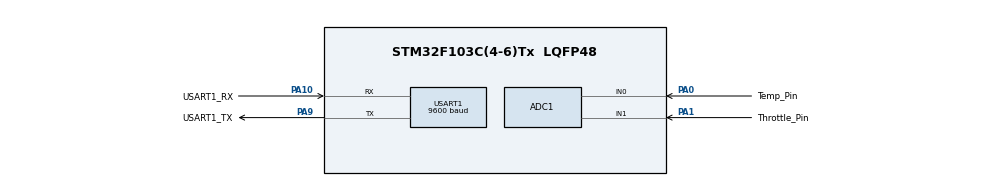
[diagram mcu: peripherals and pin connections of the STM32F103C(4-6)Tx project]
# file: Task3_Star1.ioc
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ADC1.Channel-0\#ChannelRegularConversion=ADC_CHANNEL_0
ADC1.NbrOfConversionFlag=1
ADC1.Rank-0\#ChannelRegularConversion=1
ADC1.SamplingTime-0\#ChannelRegularConversion=ADC_SAMPLETIME_1CYCLE_5
ADC1.master=1
Mcu.Family=STM32F1
Mcu.Name=STM32F103C(4-6)Tx
Mcu.Package=LQFP48
NVIC.PriorityGroup=NVIC_PRIORITYGROUP_4
PA0-WKUP.GPIO_Label=Temp_Pin
PA0-WKUP.Signal=ADCx_IN0
PA1.GPIO_Label=Throttle_Pin
PA1.Signal=ADCx_IN1
PA10.GPIO_Label=USART1_RX
PA10.Mode=Asynchronous
PA10.Signal=USART1_RX
PA9.GPIO_Label=USART1_TX
PA9.Mode=Asynchronous
PA9.Signal=USART1_TX
ProjectManager.HeapSize=0x200
ProjectManager.StackSize=0x400
ProjectManager.TargetToolchain=STM32CubeIDE
RCC.APB1Freq_Value=8000000
RCC.APB2Freq_Value=8000000
SH.ADCx_IN0.0=ADC1_IN0,IN0
SH.ADCx_IN1.0=ADC1_IN1,IN1
USART1.BaudRate=9600
USART1.VirtualMode=VM_ASYNC
VP_SYS_VS_ND.Mode=No_Debug
board=custom

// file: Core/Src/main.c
/* USER CODE BEGIN Header */
/**
  ******************************************************************************
  * @file           : main.c
  * @brief          : Main program body
  ******************************************************************************
  * @attention
  *
  * Copyright (c) 2025 STMicroelectronics.
  * All rights reserved.
  *
  * This software is licensed under terms that can be found in the LICENSE file
  * in the root directory of this software component.
  * If no LICENSE file comes with this software, it is provided AS-IS.
  *
  ******************************************************************************
  */
/* USER CODE END Header */
#include "main.h"
#include <stdio.h>
#include <string.h>

ADC_HandleTypeDef hadc1;

UART_HandleTypeDef huart1;
ADC_ChannelConfTypeDef Temp_Pin;
ADC_ChannelConfTypeDef Throttle_Pin;
uint32_t analog_temp;
uint32_t analog_throttle;
float temp;
float throttle_percent;
char reading[100];

void SystemClock_Config(void);
static void MX_GPIO_Init(void);
static void MX_ADC1_Init(void);
static void MX_USART1_UART_Init(void);

int main(void)
{

  /* MCU Configuration--------------------------------------------------------*/

  /* Reset of all peripherals, Initializes the Flash interface and the Systick. */
  HAL_Init();

  /* Configure the system clock */
  SystemClock_Config();

  /* Initialize all configured peripherals */
  MX_GPIO_Init();
  MX_ADC1_Init();
  MX_USART1_UART_Init();
  /* USER CODE BEGIN 2 */
  	  	Temp_Pin.Channel = ADC_CHANNEL_0;
    	Temp_Pin.Rank = ADC_REGULAR_RANK_1;
    	Temp_Pin.SamplingTime = ADC_SAMPLETIME_13CYCLES_5;
    	Throttle_Pin.Channel = ADC_CHANNEL_1;
    	Throttle_Pin.Rank = ADC_REGULAR_RANK_1;
    	Throttle_Pin.SamplingTime = ADC_SAMPLETIME_13CYCLES_5;
  /* USER CODE END 2 */

  /* Infinite loop */
  /* USER CODE BEGIN WHILE */
  while (1)
  {
	  HAL_ADC_ConfigChannel(&hadc1, &Temp_Pin);
	  // Temperature pin reading process
	  HAL_ADC_Start(&hadc1);
	  HAL_ADC_PollForConversion(&hadc1, 10);
	  analog_temp = HAL_ADC_GetValue(&hadc1);
	  temp = (analog_temp / 4095.0) * 150;
	  HAL_ADC_Stop(&hadc1);

	  HAL_ADC_ConfigChannel(&hadc1, &Throttle_Pin);
	  // Throttle pin reading process
	  HAL_ADC_Start(&hadc1);
	  HAL_ADC_PollForConversion(&hadc1, 10);
	  analog_throttle = HAL_ADC_GetValue(&hadc1);
	  throttle_percent = (analog_throttle / 4095.0) * 100;
	  HAL_ADC_Stop(&hadc1);
	  snprintf(reading, sizeof(reading), "Engine Temperature = %.2f °C | Throttle position = %.2f%% \r\n", temp, throttle_percent);

	  HAL_UART_Transmit(&huart1, (uint8_t*) reading, strlen(reading), 100);

	  HAL_Delay(200);
    /* USER CODE END WHILE */

  }
}

void SystemClock_Config(void)
{
  RCC_OscInitTypeDef RCC_OscInitStruct = {0};
  RCC_ClkInitTypeDef RCC_ClkInitStruct = {0};
  RCC_PeriphCLKInitTypeDef PeriphClkInit = {0};

  /** Initializes the RCC Oscillators according to the specified parameters
  * in the RCC_OscInitTypeDef structure.
  */
  RCC_OscInitStruct.OscillatorType = RCC_OSCILLATORTYPE_HSI;
  RCC_OscInitStruct.HSIState = RCC_HSI_ON;
  RCC_OscInitStruct.HSICalibrationValue = RCC_HSICALIBRATION_DEFAULT;
  RCC_OscInitStruct.PLL.PLLState = RCC_PLL_NONE;
  if (HAL_RCC_OscConfig(&RCC_OscInitStruct) != HAL_OK)
  {
    Error_Handler();
  }

  /** Initializes the CPU, AHB and APB buses clocks
  */
  RCC_ClkInitStruct.ClockType = RCC_CLOCKTYPE_HCLK|RCC_CLOCKTYPE_SYSCLK
                              |RCC_CLOCKTYPE_PCLK1|RCC_CLOCKTYPE_PCLK2;
  RCC_ClkInitStruct.SYSCLKSource = RCC_SYSCLKSOURCE_HSI;
  RCC_ClkInitStruct.AHBCLKDivider = RCC_SYSCLK_DIV1;
  RCC_ClkInitStruct.APB1CLKDivider = RCC_HCLK_DIV1;
  RCC_ClkInitStruct.APB2CLKDivider = RCC_HCLK_DIV1;

  if (HAL_RCC_ClockConfig(&RCC_ClkInitStruct, FLASH_LATENCY_0) != HAL_OK)
  {
    Error_Handler();
  }
  PeriphClkInit.PeriphClockSelection = RCC_PERIPHCLK_ADC;
  PeriphClkInit.AdcClockSelection = RCC_ADCPCLK2_DIV2;
  if (HAL_RCCEx_PeriphCLKConfig(&PeriphClkInit) != HAL_OK)
  {
    Error_Handler();
  }
}

static void MX_ADC1_Init(void)
{

  // ADC_ChannelConfTypeDef sConfig = {0};

  /** Common config
  */
  hadc1.Instance = ADC1;
  hadc1.Init.ScanConvMode = ADC_SCAN_DISABLE;
  hadc1.Init.ContinuousConvMode = DISABLE;
  hadc1.Init.DiscontinuousConvMode = DISABLE;
  hadc1.Init.ExternalTrigConv = ADC_SOFTWARE_START;
  hadc1.Init.DataAlign = ADC_DATAALIGN_RIGHT;
  hadc1.Init.NbrOfConversion = 1;
  if (HAL_ADC_Init(&hadc1) != HAL_OK)
  {
    Error_Handler();
  }

  /** Configure Regular Channel
  */ /*
  sConfig.Channel = ADC_CHANNEL_0;
  sConfig.Rank = ADC_REGULAR_RANK_1;
  sConfig.SamplingTime = ADC_SAMPLETIME_1CYCLE_5;
  if (HAL_ADC_ConfigChannel(&hadc1, &sConfig) != HAL_OK)
  {
    Error_Handler();
  }
  */

}

static void MX_USART1_UART_Init(void)
{

  huart1.Instance = USART1;
  huart1.Init.BaudRate = 9600;
  huart1.Init.WordLength = UART_WORDLENGTH_8B;
  huart1.Init.StopBits = UART_STOPBITS_1;
  huart1.Init.Parity = UART_PARITY_NONE;
  huart1.Init.Mode = UART_MODE_TX_RX;
  huart1.Init.HwFlowCtl = UART_HWCONTROL_NONE;
  huart1.Init.OverSampling = UART_OVERSAMPLING_16;
  if (HAL_UART_Init(&huart1) != HAL_OK)
  {
    Error_Handler();
  }

}

static void MX_GPIO_Init(void)
{

  /* GPIO Ports Clock Enable */
  __HAL_RCC_GPIOA_CLK_ENABLE();

}

void Error_Handler(void)
{
  __disable_irq();
  while (1)
  {
  }
}
